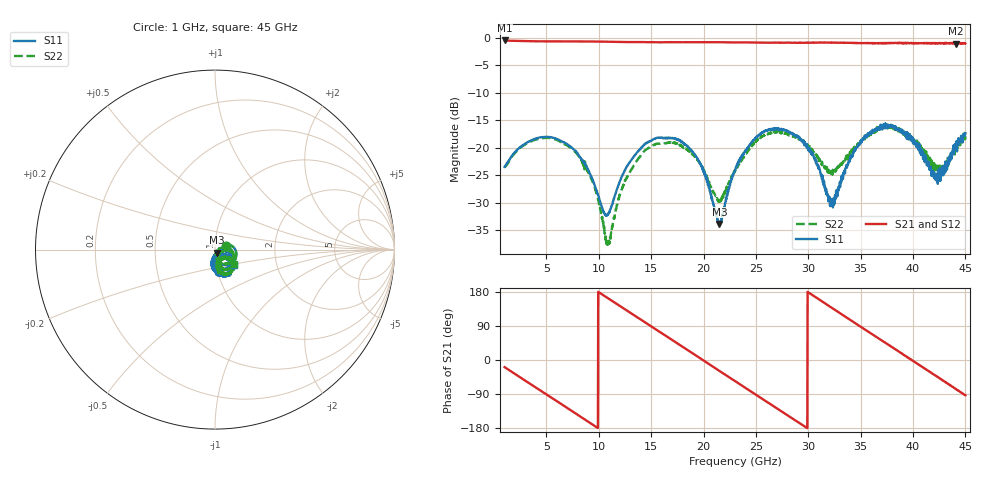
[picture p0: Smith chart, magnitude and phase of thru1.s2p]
!Keysight Technologies,N5247B,MY61255062,A.19.80.06
!Date: Thursday, May 21, 2026 11:35:19
!Correction: S11(Cdelta 2-Port  )
!S21(Cdelta 2-Port  )
!S12(Cdelta 2-Port  )
!S22(Cdelta 2-Port  )
!S2P File: Measurements: S11, S21, S12, S22:
# Hz S  dB  R 50
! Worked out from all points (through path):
!   1601 points, 1 GHz to 45 GHz, reference 50 ohm
!   highest |S21| = -0.48 dB at 1 GHz (marker M1); lowest = -1.1 dB at 44.09 GHz (marker M2)
!   group delay of S21, straight-line fit = 50.1 ps
!   lowest |S11| = -33.9 dB at 21.52 GHz (marker M3), VSWR 1.04, Z = 51.2 - j1.67 ohm
!   |S11| at or under -10 dB: start of sweep to end of sweep
!   |S22| runs from -37.9 to -16.0 dB; largest |S21 - S12| = 0.016
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1e9  -23.50 18.9  -0.48 -18.9  -0.48 -18.9  -23.61 19.3
4.74e9  -18.05 -20.9  -0.65 -86.3  -0.65 -86.3  -18.25 -18.1
6.5e9  -18.87 -46.5  -0.66 -117.8  -0.66 -117.9  -19.06 -43.9
8.3425e9  -22.08 -70.5  -0.66 -151.2  -0.67 -151.3  -22.48 -69.3
1.08725e10  -32.22 -29.4  -0.71 162.9  -0.71 162.8  -37.07 -33.4
1.26325e10  -23.56 -3.4  -0.77 131.2  -0.77 131.2  -25.66 15.9
1.5685e10  -18.18 -41.3  -0.82 76.4  -0.82 76.3  -19.27 -21.3
1.87925e10  -20.40 -85.1  -0.80 20.5  -0.80 20.5  -20.98 -61.2
2.1515e10  -33.91 -54.0  -0.79 -28.9  -0.80 -28.9  -30.03 -39.5
2.3e10  -24.05 -7.5  -0.84 -55.6  -0.84 -55.6  -24.07 -6.0
2.46225e10  -18.91 -25.3  -0.85 -84.9  -0.85 -85.0  -19.73 -11.3
2.63e10  -16.66 -48.9  -0.88 -115.0  -0.89 -115.1  -17.49 -33.2
2.839e10  -17.40 -78.7  -0.88 -152.6  -0.89 -152.8  -17.76 -58.8
3.03425e10  -21.32 -102.0  -0.88 172.2  -0.87 172.2  -20.23 -73.2
3.2295e10  -29.30 -66.0  -0.87 136.7  -0.89 136.6  -24.32 -48.5
3.41375e10  -21.46 -24.7  -0.91 103.3  -0.95 103.2  -20.19 -30.4
3.57875e10  -17.36 -40.0  -0.98 73.7  -0.99 73.4  -17.93 -39.2
3.7685e10  -16.09 -65.7  -0.96 39.5  -0.96 39.4  -16.11 -57.4
4.0765e10  -21.32 -92.7  -0.99 -16.1  -0.98 -16.3  -20.30 -83.7
4.22225e10  -25.06 -71.3  -1.00 -42.6  -0.96 -42.5  -23.77 -62.1
4.40925e10  -20.23 -30.1  -1.06 -76.7  -1.02 -76.6  -20.15 -31.3
4.5e10  -17.37 -40.1  -1.02 -92.9  -1.02 -93.1  -17.48 -35.8
